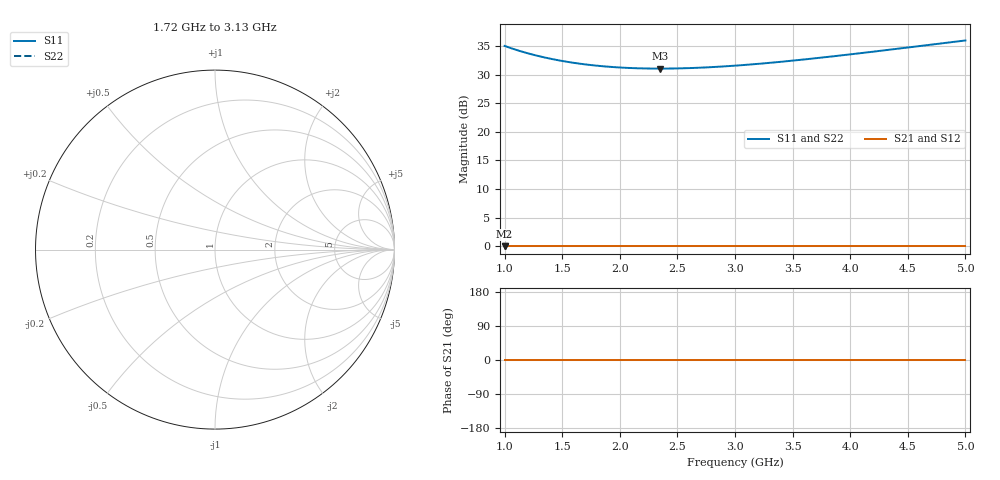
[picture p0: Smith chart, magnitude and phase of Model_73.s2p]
# GHZ S RI R 50
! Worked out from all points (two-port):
!   401 points, 1 GHz to 5 GHz, reference 50 ohm
!   highest |S21| = 0.00 dB at 1 GHz (marker M1); lowest = 0.0 dB at 1 GHz (marker M2)
!   |S21| within 3 dB of the highest: start of sweep to end of sweep
!   lowest |S11| = 31.1 dB at 2.35 GHz (marker M3)
!   |S11| at or under -10 dB: nowhere
!   |S22| runs from 31.1 to 36.0 dB; largest |S21 - S12| = 0
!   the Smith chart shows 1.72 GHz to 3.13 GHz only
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1  56.57 0  1 0  1 0  56.57 0
1.02  55.63 0  1 0  1 0  55.63 0
1.15  50.45 0  1 0  1 0  50.45 0
1.22  48.19 0  1 0  1 0  48.19 0
1.3  45.97 0  1 0  1 0  45.97 0
1.38  44.09 0  1 0  1 0  44.09 0
1.47  42.3 0  1 0  1 0  42.3 0
1.57  40.66 0  1 0  1 0  40.66 0
1.67  39.33 0  1 0  1 0  39.33 0
1.82  37.82 0  1 0  1 0  37.82 0
1.98  36.73 0  1 0  1 0  36.73 0
2.15  36.06 0  1 0  1 0  36.06 0
2.34  35.81 0  1 0  1 0  35.81 0
2.35  35.81 0  1 0  1 0  35.81 0
2.66  36.35 0  1 0  1 0  36.35 0
3  38 0  1 0  1 0  38 0
3.33  40.47 0  1 0  1 0  40.47 0
3.67  43.8 0  1 0  1 0  43.8 0
4  47.71 0  1 0  1 0  47.71 0
4.34  52.38 0  1 0  1 0  52.38 0
4.64  57.01 0  1 0  1 0  57.01 0
5  63.16 0  1 0  1 0  63.16 0
